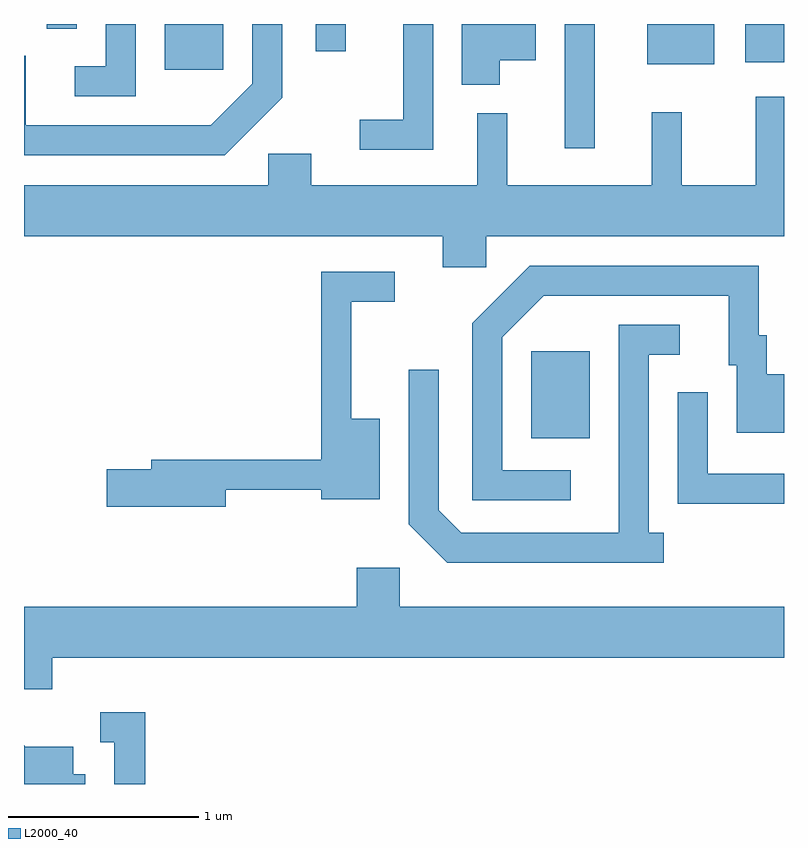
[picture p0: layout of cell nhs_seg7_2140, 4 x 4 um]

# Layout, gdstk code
import gdstk
lib = gdstk.Library(unit=1e-6, precision=1e-09)
def R(c, l, rs):  # rectangles x0, y0, x1, y1
    for r in rs: c.add(gdstk.rectangle(r[:2], r[2:], *l))
def P(c, l, *ps):  # polygons
    for p in ps: c.add(gdstk.Polygon(p, *l))
L2000_40 = (2000, 40)

nhs_seg7_2140 = lib.new_cell('nhs_seg7_2140')
R(nhs_seg7_2140, L2000_40, [(252.281,1782.071,252.589,1782.529), (252.456,1783.598,252.614,1784.252), (250.351,1784.011,250.659,1784.252), (252.891,1784.041,253.244,1784.252), (253.406,1784.051,253.611,1784.252), (251.146,1784.108,251.304,1784.252), (249.731,1784.228,249.889,1784.252)])
P(nhs_seg7_2140, L2000_40, [(252.114,1784.061),(252.304,1784.061),(252.304,1784.252),(251.916,1784.252),(251.916,1783.931),(252.114,1783.931)],
  [(250.969,1783.864),(250.969,1784.252),(250.811,1784.252),(250.811,1783.937),(250.594,1783.719),(249.619,1783.719),(249.619,1784.084),(249.611,1784.084),(249.611,1783.561),(250.667,1783.561)],
  [(251.764,1784.252),(251.606,1784.252),(251.606,1783.749),(251.378,1783.749),(251.378,1783.591),(251.764,1783.591)],
  [(250.199,1784.252),(250.041,1784.252),(250.041,1784.029),(249.878,1784.029),(249.878,1783.871),(250.199,1783.871)],
  [(252.044,1783.136),(253.611,1783.136),(253.611,1783.868),(253.461,1783.868),(253.461,1783.404),(253.074,1783.404),(253.074,1783.788),(252.916,1783.788),(252.916,1783.404),(252.154,1783.404),(252.154,1783.783),(251.996,1783.783),(251.996,1783.404),(251.124,1783.404),(251.124,1783.569),(250.896,1783.569),(250.896,1783.404),(249.611,1783.404),(249.611,1783.136),(251.816,1783.136),(251.816,1782.971),(252.044,1782.971)],
  [(252.488,1781.904),(252.129,1781.904),(252.129,1782.604),(252.347,1782.821),(253.321,1782.821),(253.321,1782.456),(253.361,1782.456),(253.361,1782.101),(253.611,1782.101),(253.611,1782.409),(253.519,1782.409),(253.519,1782.614),(253.479,1782.614),(253.479,1782.979),(252.274,1782.979),(251.971,1782.677),(251.971,1781.746),(252.488,1781.746)],
  [(250.674,1781.801),(251.176,1781.801),(251.176,1781.751),(251.484,1781.751),(251.484,1782.174),(251.334,1782.174),(251.334,1782.791),(251.563,1782.791),(251.563,1782.949),(251.176,1782.949),(251.176,1781.959),(250.281,1781.959),(250.281,1781.909),(250.046,1781.909),(250.046,1781.711),(250.674,1781.711)],
  [(252.978,1781.574),(252.899,1781.574),(252.899,1782.511),(253.063,1782.511),(253.063,1782.669),(252.741,1782.669),(252.741,1781.574),(251.912,1781.574),(251.794,1781.692),(251.794,1782.433),(251.636,1782.433),(251.636,1781.619),(251.839,1781.416),(252.978,1781.416)],
  [(253.611,1781.884),(253.209,1781.884),(253.209,1782.313),(253.051,1782.313),(253.051,1781.726),(253.611,1781.726)],
  [(249.611,1780.751),(249.759,1780.751),(249.759,1780.916),(253.611,1780.916),(253.611,1781.184),(251.589,1781.184),(251.589,1781.389),(251.361,1781.389),(251.361,1781.184),(249.611,1781.184)],
  [(250.249,1780.629),(250.013,1780.629),(250.013,1780.471),(250.086,1780.471),(250.086,1780.252),(250.249,1780.252)],
  [(249.934,1780.304),(249.869,1780.304),(249.869,1780.449),(249.617,1780.449),(249.611,1780.455),(249.611,1780.252),(249.934,1780.252)])

lib.write_gds('nhs_seg7_2140.gds')
